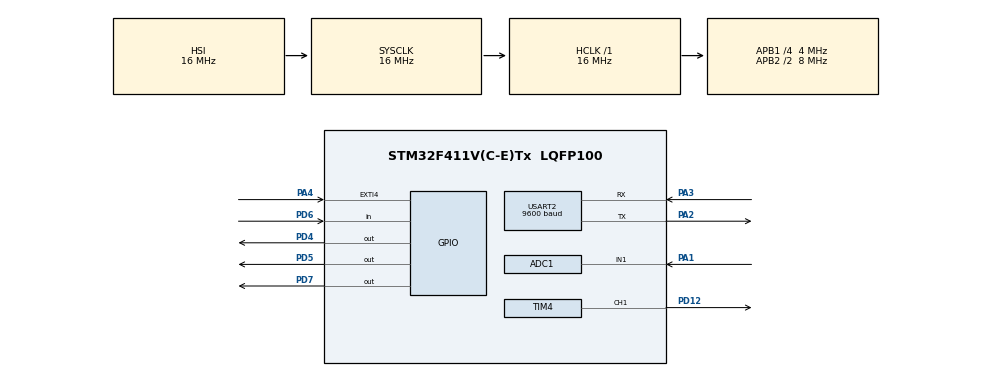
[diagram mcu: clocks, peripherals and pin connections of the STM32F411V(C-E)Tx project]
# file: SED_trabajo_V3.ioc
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ADC1.Channel-0\#ChannelRegularConversion=ADC_CHANNEL_1
ADC1.ContinuousConvMode=ENABLE
ADC1.DMAContinuousRequests=ENABLE
ADC1.NbrOfConversionFlag=1
ADC1.Rank-0\#ChannelRegularConversion=1
ADC1.SamplingTime-0\#ChannelRegularConversion=ADC_SAMPLETIME_480CYCLES
ADC1.ScanConvMode=ENABLE
ADC1.master=1
Dma.ADC1.0.Direction=DMA_PERIPH_TO_MEMORY
Dma.ADC1.0.FIFOMode=DMA_FIFOMODE_DISABLE
Dma.ADC1.0.Instance=DMA2_Stream0
Dma.ADC1.0.MemDataAlignment=DMA_MDATAALIGN_WORD
Dma.ADC1.0.MemInc=DMA_MINC_ENABLE
Dma.ADC1.0.Mode=DMA_CIRCULAR
Dma.ADC1.0.PeriphDataAlignment=DMA_PDATAALIGN_WORD
Dma.ADC1.0.PeriphInc=DMA_PINC_DISABLE
Dma.ADC1.0.Priority=DMA_PRIORITY_LOW
Dma.Request0=ADC1
Mcu.Family=STM32F4
Mcu.Name=STM32F411V(C-E)Tx
Mcu.Package=LQFP100
NVIC.DMA2_Stream0_IRQn=true\:0\:0\:false\:false\:true\:false\:true
NVIC.EXTI4_IRQn=true\:0\:0\:false\:false\:true\:true\:true
NVIC.PriorityGroup=NVIC_PRIORITYGROUP_0
NVIC.USART2_IRQn=true\:0\:0\:false\:false\:true\:true\:true
PA1.Signal=ADCx_IN1
PA2.Mode=Asynchronous
PA2.Signal=USART2_TX
PA3.Mode=Asynchronous
PA3.Signal=USART2_RX
PA4.Signal=GPXTI4
PD12.Signal=S_TIM4_CH1
PD4.Signal=GPIO_Output
PD5.Signal=GPIO_Output
PD6.Signal=GPIO_Input
PD7.Signal=GPIO_Output
ProjectManager.HeapSize=0x200
ProjectManager.StackSize=0x400
ProjectManager.TargetToolchain=STM32CubeIDE
RCC.48MHZClocksFreq_Value=48000000
RCC.AHBFreq_Value=16000000
RCC.APB1CLKDivider=RCC_HCLK_DIV4
RCC.APB1Freq_Value=4000000
RCC.APB1TimFreq_Value=8000000
RCC.APB2CLKDivider=RCC_HCLK_DIV2
RCC.APB2Freq_Value=8000000
RCC.APB2TimFreq_Value=16000000
RCC.CortexFreq_Value=16000000
RCC.HCLKFreq_Value=16000000
RCC.HSE_VALUE=8000000
RCC.HSI_VALUE=16000000
RCC.LSE_VALUE=32768
RCC.PLLI2SM=5
RCC.PLLI2SN=200
RCC.PLLM=8
RCC.PLLP=RCC_PLLP_DIV4
RCC.PLLQ=8
RCC.SYSCLKFreq_VALUE=16000000
RCC.VCOOutputFreq_Value=384000000
SH.ADCx_IN1.0=ADC1_IN1,IN1
SH.S_TIM4_CH1.0=TIM4_CH1,PWM Generation1 CH1
TIM4.Channel-PWM\ Generation1\ CH1=TIM_CHANNEL_1
TIM4.Period=10
TIM4.Prescaler=1600
USART2.BaudRate=9600
USART2.VirtualMode=VM_ASYNC
VP_TIM4_VS_ClockSourceINT.Mode=Internal
board=STM32F411E-DISCO

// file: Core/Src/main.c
/* USER CODE BEGIN Header */
/**
  ******************************************************************************
  * @file           : main.c
  * @brief          : Main program body
  ******************************************************************************
  * @attention
  *
  * Copyright (c) 2022 STMicroelectronics.
  * All rights reserved.
  *
  * This software is licensed under terms that can be found in the LICENSE file
  * in the root directory of this software component.
  * If no LICENSE file comes with this software, it is provided AS-IS.
  *
  ******************************************************************************
  */
/* USER CODE END Header */
#include "main.h"

/* USER CODE BEGIN Includes */

#include "string.h"
#include "stdio.h"

/* USER CODE END Includes */

ADC_HandleTypeDef hadc1;
DMA_HandleTypeDef hdma_adc1;

TIM_HandleTypeDef htim4;

UART_HandleTypeDef huart2;

/* USER CODE BEGIN PV */

// Datos Bluetooth

	int flag,j,a;
	uint8_t rx;
	char str1[60]={0};
	int len;
	char buffer[100];
	int i;
	int l_1,l_2,l_3;

/* USER CODE END PV */

void SystemClock_Config(void);
static void MX_GPIO_Init(void);
static void MX_DMA_Init(void);
static void MX_ADC1_Init(void);
static void MX_USART2_UART_Init(void);
static void MX_TIM4_Init(void);

/* USER CODE BEGIN 0 */

// Datos Botón

	int bandera;
	volatile int button_int=0;
	int contador = 0;

// Datos Potenciometro

	uint32_t adcvalue[1], adcbuffer[1];

// Datos PIR

		int t_cont=0, tickstart ;
		int t_luz=5000;

// Handler Potenciometro

		void HAL_ADC_ConvCpltCallback( ADC_HandleTypeDef *hadc)
		{
			if (hadc->Instance == ADC1)
			{
				adcvalue[0]=adcbuffer[0]*2/1000;
			}
		}

// Callback Bluetooth

	void HAL_UART_RxCpltCallback(UART_HandleTypeDef *huart)
	{
		if(huart==&huart2)
		{
			if(rx == 0x0A)
				flag=1;
			str1[a]=rx;
			a++;
		}
		HAL_UART_Receive_IT(&huart2,&rx,1);
	}

// Callback Botón

	void HAL_GPIO_EXTI_Callback(uint16_t GPIO_Pin)
	{
		if(GPIO_Pin==GPIO_PIN_4)
		{
			button_int = 1;
		}
	}

// Datos Potenciometro

	uint32_t adcvalue[1], adcbuffer[1];

/* USER CODE END 0 */

int main(void)
{

  /* MCU Configuration--------------------------------------------------------*/

  /* Reset of all peripherals, Initializes the Flash interface and the Systick. */
  HAL_Init();

  /* Configure the system clock */
  SystemClock_Config();

  /* Initialize all configured peripherals */
  MX_GPIO_Init();
  MX_DMA_Init();
  MX_ADC1_Init();
  MX_USART2_UART_Init();
  MX_TIM4_Init();
  /* USER CODE BEGIN 2 */

  // Datos Anti-rebotes

	int counter=HAL_GetTick();
  	uint8_t button_count=0;

  // Datos Bluetooth

  HAL_UART_Receive_IT(&huart2,&rx,1);

  // LED regulable

  	HAL_ADC_Start_DMA(&hadc1, adcbuffer, 1);
    HAL_TIM_PWM_Start(&htim4, TIM_CHANNEL_1);

  /* USER CODE END 2 */

  /* Infinite loop */
  while (1)
  {

    /* USER CODE BEGIN 3 */

	  // Led regulable

	  	  __HAL_TIM_SET_COMPARE(&htim4, TIM_CHANNEL_1, adcvalue[0]);

      // Bluetooth

	if(flag==1)
	{
		a=0;
		for(j=0;j<60;j++)
		{
			if((str1[j]=='l')  &&  (str1[j+1]=='e')  &&  (str1[j+2]=='d')  &&  (str1[j+3]=='o')  &&  (str1[j+4]=='n') )
			{
				HAL_GPIO_WritePin(GPIOD,GPIO_PIN_4,1);
				l_3=1;
				for(j=0;j<60;j++)  {str1[j]=0;}
			}
		}

		for(j=0;j<60;j++)
		{
			if((str1[j]=='l')  &&  (str1[j+1]=='e')  &&  (str1[j+2]=='d')  &&  (str1[j+3]=='o')  &&  (str1[j+4]=='f')  &&  (str1[j+5]=='f') )
			{
				HAL_GPIO_WritePin(GPIOD,GPIO_PIN_4,0);
				l_3=0;
				for(j=0;j<60;j++)  {str1[j]=0;}
			}
		}

		for(j=0;j<60;j++)
		{
			if((str1[j]=='s')  &&  (str1[j+1]=='t')  &&  (str1[j+2]=='a')  &&  (str1[j+3]=='t')  &&  (str1[j+4]=='u')  &&  (str1[j+5]=='s') )
			{
				sprintf(buffer," Led1 : %i \n Led2 : %i \n Led3 : %i \n Potencia Led4 : %i \n\r",l_1,l_2,l_3,adcvalue[0]);
				len=strlen(buffer);
				HAL_UART_Transmit(&huart2,buffer,len,100);
				for(j=0;j<60;j++)  {str1[j]=0;}
			}
		}
		flag=0;
	}

	  // Contador de botón

		  	  if(button_int==1)
		  	  		{
		  	  			if(HAL_GetTick()-counter>=20){
		  	  				counter=HAL_GetTick();
		  	  				if(HAL_GPIO_ReadPin(GPIOA, GPIO_PIN_4)!=1){
		  	  					button_count=0;
		  	  				}
		  	  				else{
		  	  					button_count++;
		  	  				}
		  	  				if(button_count==3){
		  	  					button_count=0;
		  	  					contador++;
		  	  					bandera=1;
		  	  					button_int=0;
		  	  				}
		  	  				}
		  	  		}

		// Funcionamiento Botón

		  	  if (bandera==1)
		  		  {
		  		  	  if(contador%2 == 0)
		  		  	  {
		  		  		  HAL_GPIO_WritePin(GPIOD,GPIO_PIN_7,0);
		  		  		  l_1=0;
		  		  		  bandera = 0;
		  		  		  contador = 0;
		  		  	  }
		  		  	  else
		  		  	  {
		  		  		  HAL_GPIO_WritePin(GPIOD,GPIO_PIN_7,1);
		  		  		  l_1=1;
		  		  		  bandera = 0;
		  		  	  }
		  		  }

	  	// Sensor PIR

	  	 if (HAL_GPIO_ReadPin(GPIOD, GPIO_PIN_6))
	  		  {
	  		 	 t_cont=1;
	  		 	 tickstart=HAL_GetTick();
	  			 HAL_GPIO_WritePin(GPIOD, GPIO_PIN_5, 1);
	  			 l_2=1;
	  		  }

	  	 if (t_cont==1)
	  	 {
	  		 if((HAL_GetTick() - tickstart) >= t_luz)
	  		 {
	  			t_cont=0;
	  			HAL_GPIO_WritePin(GPIOD, GPIO_PIN_5, 0);
	  			l_2=0;
	  		 }
	  	 }

}

  /* USER CODE END 3 */
}

void SystemClock_Config(void)
{
  RCC_OscInitTypeDef RCC_OscInitStruct = {0};
  RCC_ClkInitTypeDef RCC_ClkInitStruct = {0};

  /** Configure the main internal regulator output voltage
  */
  __HAL_RCC_PWR_CLK_ENABLE();
  __HAL_PWR_VOLTAGESCALING_CONFIG(PWR_REGULATOR_VOLTAGE_SCALE1);
  /** Initializes the RCC Oscillators according to the specified parameters
  * in the RCC_OscInitTypeDef structure.
  */
  RCC_OscInitStruct.OscillatorType = RCC_OSCILLATORTYPE_HSI;
  RCC_OscInitStruct.HSIState = RCC_HSI_ON;
  RCC_OscInitStruct.HSICalibrationValue = RCC_HSICALIBRATION_DEFAULT;
  RCC_OscInitStruct.PLL.PLLState = RCC_PLL_NONE;
  if (HAL_RCC_OscConfig(&RCC_OscInitStruct) != HAL_OK)
  {
    Error_Handler();
  }
  /** Initializes the CPU, AHB and APB buses clocks
  */
  RCC_ClkInitStruct.ClockType = RCC_CLOCKTYPE_HCLK|RCC_CLOCKTYPE_SYSCLK
                              |RCC_CLOCKTYPE_PCLK1|RCC_CLOCKTYPE_PCLK2;
  RCC_ClkInitStruct.SYSCLKSource = RCC_SYSCLKSOURCE_HSI;
  RCC_ClkInitStruct.AHBCLKDivider = RCC_SYSCLK_DIV1;
  RCC_ClkInitStruct.APB1CLKDivider = RCC_HCLK_DIV4;
  RCC_ClkInitStruct.APB2CLKDivider = RCC_HCLK_DIV2;

  if (HAL_RCC_ClockConfig(&RCC_ClkInitStruct, FLASH_LATENCY_0) != HAL_OK)
  {
    Error_Handler();
  }
}

static void MX_ADC1_Init(void)
{

  ADC_ChannelConfTypeDef sConfig = {0};

  /** Configure the global features of the ADC (Clock, Resolution, Data Alignment and number of conversion)
  */
  hadc1.Instance = ADC1;
  hadc1.Init.ClockPrescaler = ADC_CLOCK_SYNC_PCLK_DIV2;
  hadc1.Init.Resolution = ADC_RESOLUTION_12B;
  hadc1.Init.ScanConvMode = ENABLE;
  hadc1.Init.ContinuousConvMode = ENABLE;
  hadc1.Init.DiscontinuousConvMode = DISABLE;
  hadc1.Init.ExternalTrigConvEdge = ADC_EXTERNALTRIGCONVEDGE_NONE;
  hadc1.Init.ExternalTrigConv = ADC_SOFTWARE_START;
  hadc1.Init.DataAlign = ADC_DATAALIGN_RIGHT;
  hadc1.Init.NbrOfConversion = 1;
  hadc1.Init.DMAContinuousRequests = ENABLE;
  hadc1.Init.EOCSelection = ADC_EOC_SINGLE_CONV;
  if (HAL_ADC_Init(&hadc1) != HAL_OK)
  {
    Error_Handler();
  }
  /** Configure for the selected ADC regular channel its corresponding rank in the sequencer and its sample time.
  */
  sConfig.Channel = ADC_CHANNEL_1;
  sConfig.Rank = 1;
  sConfig.SamplingTime = ADC_SAMPLETIME_480CYCLES;
  if (HAL_ADC_ConfigChannel(&hadc1, &sConfig) != HAL_OK)
  {
    Error_Handler();
  }

}

static void MX_TIM4_Init(void)
{

  TIM_ClockConfigTypeDef sClockSourceConfig = {0};
  TIM_MasterConfigTypeDef sMasterConfig = {0};
  TIM_OC_InitTypeDef sConfigOC = {0};

  htim4.Instance = TIM4;
  htim4.Init.Prescaler = 1600;
  htim4.Init.CounterMode = TIM_COUNTERMODE_UP;
  htim4.Init.Period = 10;
  htim4.Init.ClockDivision = TIM_CLOCKDIVISION_DIV1;
  htim4.Init.AutoReloadPreload = TIM_AUTORELOAD_PRELOAD_DISABLE;
  if (HAL_TIM_Base_Init(&htim4) != HAL_OK)
  {
    Error_Handler();
  }
  sClockSourceConfig.ClockSource = TIM_CLOCKSOURCE_INTERNAL;
  if (HAL_TIM_ConfigClockSource(&htim4, &sClockSourceConfig) != HAL_OK)
  {
    Error_Handler();
  }
  if (HAL_TIM_PWM_Init(&htim4) != HAL_OK)
  {
    Error_Handler();
  }
  sMasterConfig.MasterOutputTrigger = TIM_TRGO_RESET;
  sMasterConfig.MasterSlaveMode = TIM_MASTERSLAVEMODE_DISABLE;
  if (HAL_TIMEx_MasterConfigSynchronization(&htim4, &sMasterConfig) != HAL_OK)
  {
    Error_Handler();
  }
  sConfigOC.OCMode = TIM_OCMODE_PWM1;
  sConfigOC.Pulse = 0;
  sConfigOC.OCPolarity = TIM_OCPOLARITY_HIGH;
  sConfigOC.OCFastMode = TIM_OCFAST_DISABLE;
  if (HAL_TIM_PWM_ConfigChannel(&htim4, &sConfigOC, TIM_CHANNEL_1) != HAL_OK)
  {
    Error_Handler();
  }
  HAL_TIM_MspPostInit(&htim4);

}

static void MX_USART2_UART_Init(void)
{

  huart2.Instance = USART2;
  huart2.Init.BaudRate = 9600;
  huart2.Init.WordLength = UART_WORDLENGTH_8B;
  huart2.Init.StopBits = UART_STOPBITS_1;
  huart2.Init.Parity = UART_PARITY_NONE;
  huart2.Init.Mode = UART_MODE_TX_RX;
  huart2.Init.HwFlowCtl = UART_HWCONTROL_NONE;
  huart2.Init.OverSampling = UART_OVERSAMPLING_16;
  if (HAL_UART_Init(&huart2) != HAL_OK)
  {
    Error_Handler();
  }

}

static void MX_DMA_Init(void)
{

  /* DMA controller clock enable */
  __HAL_RCC_DMA2_CLK_ENABLE();

  /* DMA interrupt init */
  /* DMA2_Stream0_IRQn interrupt configuration */
  HAL_NVIC_SetPriority(DMA2_Stream0_IRQn, 0, 0);
  HAL_NVIC_EnableIRQ(DMA2_Stream0_IRQn);

}

static void MX_GPIO_Init(void)
{
  GPIO_InitTypeDef GPIO_InitStruct = {0};

  /* GPIO Ports Clock Enable */
  __HAL_RCC_GPIOA_CLK_ENABLE();
  __HAL_RCC_GPIOD_CLK_ENABLE();

  /*Configure GPIO pin Output Level */
  HAL_GPIO_WritePin(GPIOD, GPIO_PIN_4|GPIO_PIN_5|GPIO_PIN_7, GPIO_PIN_RESET);

  /*Configure GPIO pin : PA4 */
  GPIO_InitStruct.Pin = GPIO_PIN_4;
  GPIO_InitStruct.Mode = GPIO_MODE_IT_RISING;
  GPIO_InitStruct.Pull = GPIO_NOPULL;
  HAL_GPIO_Init(GPIOA, &GPIO_InitStruct);

  /*Configure GPIO pins : PD4 PD5 PD7 */
  GPIO_InitStruct.Pin = GPIO_PIN_4|GPIO_PIN_5|GPIO_PIN_7;
  GPIO_InitStruct.Mode = GPIO_MODE_OUTPUT_PP;
  GPIO_InitStruct.Pull = GPIO_NOPULL;
  GPIO_InitStruct.Speed = GPIO_SPEED_FREQ_LOW;
  HAL_GPIO_Init(GPIOD, &GPIO_InitStruct);

  /*Configure GPIO pin : PD6 */
  GPIO_InitStruct.Pin = GPIO_PIN_6;
  GPIO_InitStruct.Mode = GPIO_MODE_INPUT;
  GPIO_InitStruct.Pull = GPIO_NOPULL;
  HAL_GPIO_Init(GPIOD, &GPIO_InitStruct);

  /* EXTI interrupt init*/
  HAL_NVIC_SetPriority(EXTI4_IRQn, 0, 0);
  HAL_NVIC_EnableIRQ(EXTI4_IRQn);

}

void Error_Handler(void)
{
  __disable_irq();
  while (1)
  {
  }
}
